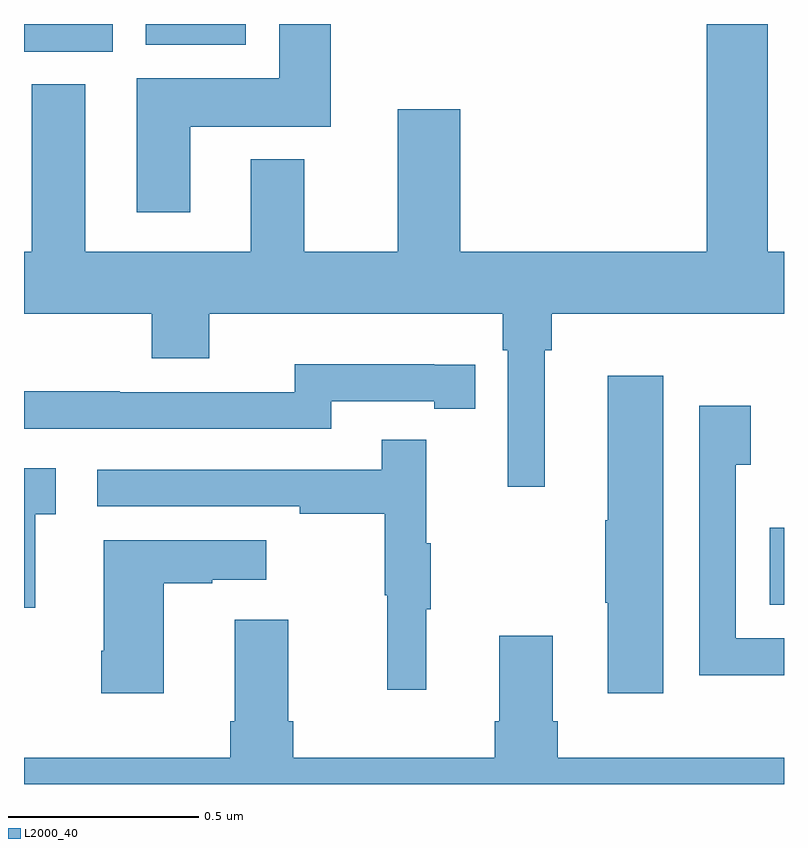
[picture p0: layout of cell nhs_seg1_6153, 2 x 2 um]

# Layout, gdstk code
import gdstk
lib = gdstk.Library(unit=1e-6, precision=1e-09)
def R(c, l, rs):  # rectangles x0, y0, x1, y1
    for r in rs: c.add(gdstk.rectangle(r[:2], r[2:], *l))
def P(c, l, *ps):  # polygons
    for p in ps: c.add(gdstk.Polygon(p, *l))
L2000_40 = (2000, 40)

nhs_seg1_6153 = lib.new_cell('nhs_seg1_6153')
R(nhs_seg1_6153, L2000_40, [(189.962,513.671,190,513.874), (188,515.126,188.233,515.199), (188.321,515.144,188.584,515.199)])
P(nhs_seg1_6153, L2000_40, [(189.37,514.34),(189.389,514.34),(189.389,514.436),(190,514.436),(190,514.6),(189.957,514.6),(189.957,515.199),(189.797,515.199),(189.797,514.6),(189.148,514.6),(189.148,514.975),(188.984,514.975),(188.984,514.6),(188.737,514.6),(188.737,514.843),(188.597,514.843),(188.597,514.6),(188.161,514.6),(188.161,515.041),(188.021,515.041),(188.021,514.6),(188,514.6),(188,514.436),(188.336,514.436),(188.336,514.319),(188.488,514.319),(188.488,514.436),(189.26,514.436),(189.26,514.34),(189.273,514.34),(189.273,513.981),(189.37,513.981)],
  [(188.437,514.928),(188.807,514.928),(188.807,515.199),(188.672,515.199),(188.672,515.056),(188.297,515.056),(188.297,514.704),(188.437,514.704)],
  [(188.808,514.206),(189.08,514.206),(189.08,514.186),(189.188,514.186),(189.188,514.302),(189.08,514.302),(189.08,514.303),(188.712,514.303),(188.712,514.23),(188.252,514.23),(188.252,514.232),(188,514.232),(188,514.134),(188.808,514.134)],
  [(189.682,514.273),(189.536,514.273),(189.536,513.893),(189.529,513.893),(189.529,513.676),(189.536,513.676),(189.536,513.438),(189.682,513.438)],
  [(190,513.582),(189.873,513.582),(189.873,514.039),(189.913,514.039),(189.913,514.195),(189.777,514.195),(189.777,513.485),(190,513.485)],
  [(189.059,513.659),(189.07,513.659),(189.07,513.833),(189.059,513.833),(189.059,514.105),(188.941,514.105),(188.941,514.026),(188.193,514.026),(188.193,513.93),(188.725,513.93),(188.725,513.91),(188.949,513.91),(188.949,513.696),(188.956,513.696),(188.956,513.447),(189.059,513.447)],
  [(188.03,513.909),(188.083,513.909),(188.083,514.03),(188,514.03),(188,513.663),(188.03,513.663)],
  [(188.368,513.727),(188.495,513.727),(188.495,513.737),(188.638,513.737),(188.638,513.841),(188.21,513.841),(188.21,513.55),(188.203,513.55),(188.203,513.438),(188.368,513.438)],
  [(190,513.268),(189.404,513.268),(189.404,513.364),(189.391,513.364),(189.391,513.589),(189.251,513.589),(189.251,513.364),(189.239,513.364),(189.239,513.268),(188.708,513.268),(188.708,513.364),(188.695,513.364),(188.695,513.631),(188.555,513.631),(188.555,513.364),(188.543,513.364),(188.543,513.268),(188,513.268),(188,513.199),(190,513.199)])

lib.write_gds('nhs_seg1_6153.gds')
